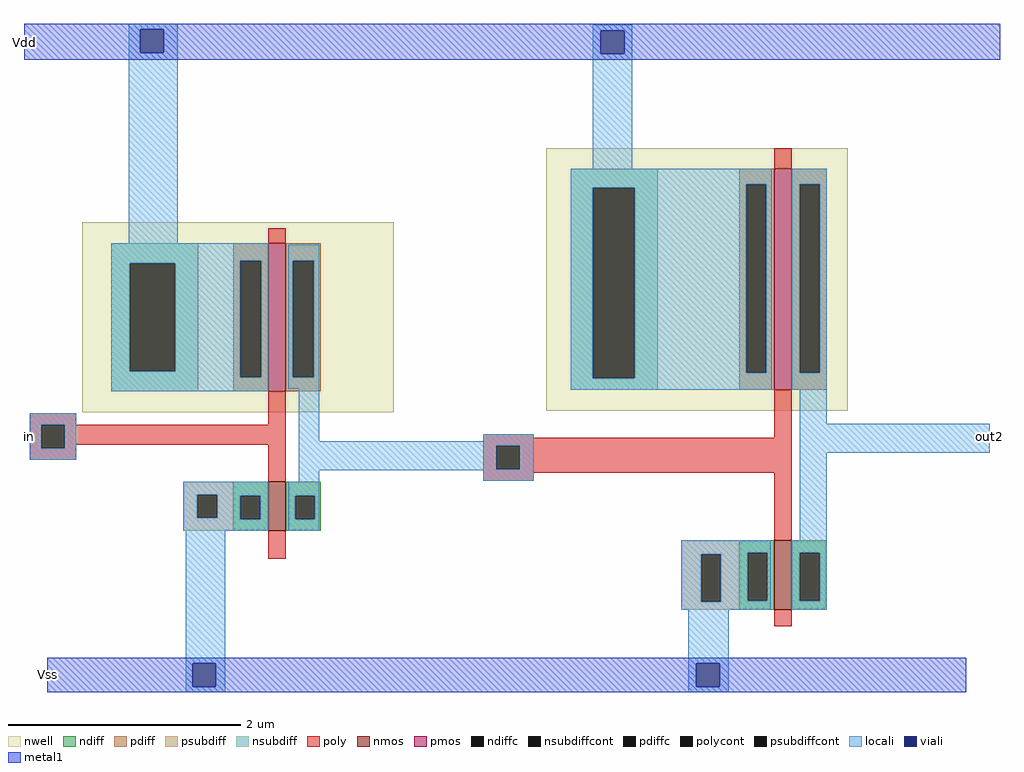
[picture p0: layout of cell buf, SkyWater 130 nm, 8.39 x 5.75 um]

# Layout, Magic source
magic
tech sky130A
<< nwell >>
rect -55 1356 213 1519
rect 344 1357 603 1583
<< nmos >>
rect 105 1254 120 1296
rect 540 1186 555 1246
<< pmos >>
rect 105 1374 120 1501
rect 540 1375 555 1565
<< ndiff >>
rect 75 1284 105 1296
rect 75 1264 81 1284
rect 98 1264 105 1284
rect 75 1254 105 1264
rect 120 1284 150 1296
rect 120 1264 128 1284
rect 145 1264 150 1284
rect 120 1254 150 1264
rect 510 1235 540 1246
rect 510 1194 517 1235
rect 534 1194 540 1235
rect 510 1186 540 1194
rect 555 1235 585 1246
rect 555 1194 562 1235
rect 579 1194 585 1235
rect 555 1186 585 1194
<< pdiff >>
rect 75 1486 105 1501
rect 75 1386 81 1486
rect 99 1386 105 1486
rect 75 1374 105 1386
rect 120 1486 150 1501
rect 120 1386 126 1486
rect 144 1386 150 1486
rect 120 1374 150 1386
rect 510 1552 540 1565
rect 510 1390 516 1552
rect 533 1390 540 1552
rect 510 1375 540 1390
rect 555 1552 585 1565
rect 555 1390 562 1552
rect 579 1390 585 1552
rect 555 1375 585 1390
<< ndiffc >>
rect 81 1264 98 1284
rect 128 1264 145 1284
rect 517 1194 534 1235
rect 562 1194 579 1235
<< pdiffc >>
rect 81 1386 99 1486
rect 126 1386 144 1486
rect 516 1390 533 1552
rect 562 1390 579 1552
<< psubdiff >>
rect 32 1285 75 1296
rect 32 1265 44 1285
rect 61 1265 75 1285
rect 32 1254 75 1265
rect 460 1234 510 1246
rect 460 1193 477 1234
rect 494 1193 510 1234
rect 460 1186 510 1193
<< nsubdiff >>
rect 365 1549 440 1565
rect -30 1484 45 1501
rect -30 1391 -14 1484
rect 25 1391 45 1484
rect -30 1374 45 1391
rect 365 1385 384 1549
rect 420 1385 440 1549
rect 365 1375 440 1385
<< psubdiffcont >>
rect 44 1265 61 1285
rect 477 1193 494 1234
<< nsubdiffcont >>
rect -14 1391 25 1484
rect 384 1385 420 1549
<< poly >>
rect 540 1565 555 1583
rect 105 1501 120 1514
rect -100 1345 -60 1355
rect 105 1345 120 1374
rect -100 1325 -90 1345
rect -70 1328 120 1345
rect -70 1325 -60 1328
rect -100 1315 -60 1325
rect 105 1296 120 1328
rect 290 1334 333 1337
rect 540 1334 555 1375
rect 290 1327 555 1334
rect 290 1307 301 1327
rect 321 1307 555 1327
rect 290 1304 555 1307
rect 290 1297 333 1304
rect 105 1230 120 1254
rect 540 1246 555 1304
rect 540 1172 555 1186
<< polycont >>
rect -90 1325 -70 1345
rect 301 1307 321 1327
<< locali >>
rect -15 1685 27 1690
rect -15 1665 -5 1685
rect 15 1665 27 1685
rect -15 1501 27 1665
rect 384 1684 418 1689
rect 384 1664 391 1684
rect 411 1664 418 1684
rect 384 1565 418 1664
rect 365 1552 538 1565
rect 365 1549 516 1552
rect -30 1486 105 1501
rect -30 1484 81 1486
rect -30 1391 -14 1484
rect 25 1391 81 1484
rect -30 1386 81 1391
rect 99 1386 105 1486
rect -30 1374 105 1386
rect 122 1486 149 1500
rect 122 1386 126 1486
rect 144 1386 149 1486
rect 122 1376 149 1386
rect -100 1345 -60 1355
rect -100 1325 -90 1345
rect -70 1325 -60 1345
rect -100 1315 -60 1325
rect 131 1331 149 1376
rect 365 1385 384 1549
rect 420 1390 516 1549
rect 533 1390 538 1552
rect 420 1385 538 1390
rect 365 1375 538 1385
rect 555 1552 585 1565
rect 555 1390 562 1552
rect 579 1390 585 1552
rect 555 1375 585 1390
rect 562 1346 585 1375
rect 290 1331 333 1337
rect 131 1327 333 1331
rect 131 1307 301 1327
rect 321 1307 333 1327
rect 131 1306 333 1307
rect 131 1296 149 1306
rect 290 1297 333 1306
rect 562 1321 725 1346
rect 32 1285 105 1296
rect 32 1265 44 1285
rect 61 1284 105 1285
rect 61 1265 81 1284
rect 32 1264 81 1265
rect 98 1264 105 1284
rect 32 1254 105 1264
rect 122 1284 149 1296
rect 122 1264 128 1284
rect 145 1264 149 1284
rect 122 1254 149 1264
rect 34 1140 68 1254
rect 562 1246 585 1321
rect 460 1235 537 1246
rect 460 1234 517 1235
rect 460 1193 477 1234
rect 494 1194 517 1234
rect 534 1194 537 1235
rect 494 1193 537 1194
rect 460 1186 537 1193
rect 555 1235 585 1246
rect 555 1194 562 1235
rect 579 1194 585 1235
rect 555 1186 585 1194
rect 34 1120 40 1140
rect 60 1120 68 1140
rect 34 1115 68 1120
rect 466 1140 501 1186
rect 466 1120 473 1140
rect 493 1120 501 1140
rect 466 1115 501 1120
<< viali >>
rect -5 1665 15 1685
rect 391 1664 411 1684
rect 40 1120 60 1140
rect 473 1120 493 1140
<< metal1 >>
rect -105 1685 734 1690
rect -105 1665 -5 1685
rect 15 1684 734 1685
rect 15 1665 391 1684
rect -105 1664 391 1665
rect 411 1664 734 1684
rect -105 1659 734 1664
rect -85 1140 705 1145
rect -85 1120 40 1140
rect 60 1120 473 1140
rect 493 1120 705 1140
rect -85 1115 705 1120
<< labels >>
rlabel metal1 -85 1130 -85 1130 7 Vss
port 3 w
rlabel metal1 -105 1674 -105 1674 7 Vdd
port 2 w
rlabel locali 725 1335 725 1335 3 out2
port 4 e
rlabel locali -100 1335 -100 1335 7 in
port 1 w
<< end >>
